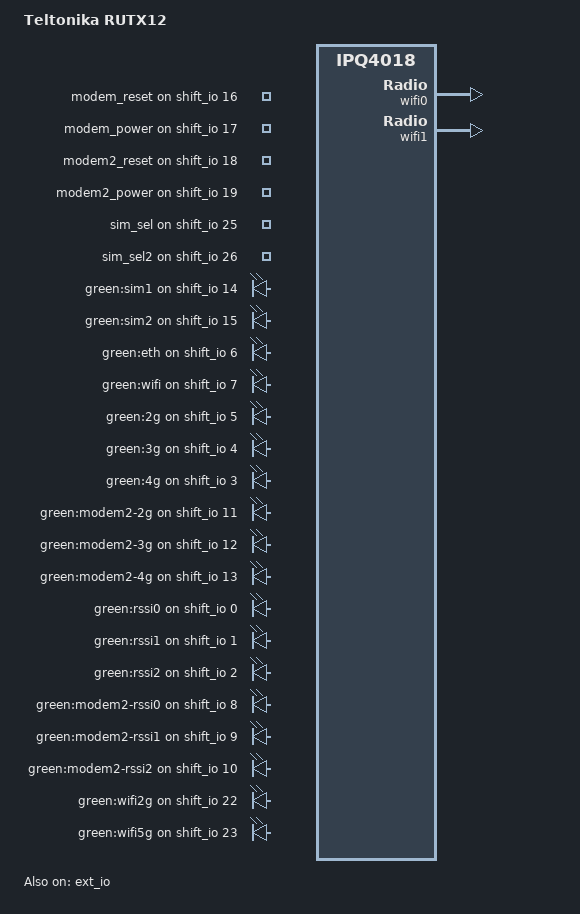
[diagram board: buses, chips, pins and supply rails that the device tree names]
// SPDX-License-Identifier: GPL-2.0-or-later OR MIT

#include "qcom-ipq4018-rutx-dsa.dtsi"

/ {
	model = "Teltonika RUTX12";
	compatible = "teltonika,rutx12";

	aliases {
		led-boot = &led_rssi0;
		led-failsafe = &led_rssi0;
		led-running = &led_rssi0;
		led-upgrade = &led_rssi0;
	};

	soc {
		gpio-export {
			compatible = "gpio-export";

			modem_reset {
				gpio-export,name = "modem_reset";
				gpio-export,output = <0>;
				gpios = <&shift_io 16 GPIO_ACTIVE_HIGH>;
			};

			modem_power {
				gpio-export,name = "modem_power";
				gpio-export,output = <1>;
				gpios = <&shift_io 17 GPIO_ACTIVE_HIGH>;
			};

			modem2_reset {
				gpio-export,name = "modem2_reset";
				gpio-export,output = <0>;
				gpios = <&shift_io 18 GPIO_ACTIVE_HIGH>;
			};

			modem2_power {
				gpio-export,name = "modem2_power";
				gpio-export,output = <1>;
				gpios = <&shift_io 19 GPIO_ACTIVE_HIGH>;
			};

			sim_sel {
				gpio-export,name = "sim_sel";
				gpio-export,output = <0>;
				gpios = <&shift_io 25 GPIO_ACTIVE_HIGH>;
			};

			sim_sel2 {
				gpio-export,name = "sim_sel2";
				gpio-export,output = <0>;
				gpios = <&shift_io 26 GPIO_ACTIVE_HIGH>;
			};
		};

		leds {
			compatible = "gpio-leds";

			led-0 {
				label = "green:sim1";
				gpios = <&shift_io 14 GPIO_ACTIVE_HIGH>;
			};

			led-1 {
				label = "green:sim2";
				gpios = <&shift_io 15 GPIO_ACTIVE_HIGH>;
			};

			led-2 {
				label = "green:eth";
				gpios = <&shift_io 6 GPIO_ACTIVE_HIGH>;
			};

			led-3 {
				label = "green:wifi";
				gpios = <&shift_io 7 GPIO_ACTIVE_HIGH>;
			};

			led-4 {
				label = "green:2g";
				gpios = <&shift_io 5 GPIO_ACTIVE_HIGH>;
			};

			led-5 {
				label = "green:3g";
				gpios = <&shift_io 4 GPIO_ACTIVE_HIGH>;
			};

			led-6 {
				label = "green:4g";
				gpios = <&shift_io 3 GPIO_ACTIVE_HIGH>;
			};

			led-7 {
				label = "green:modem2-2g";
				gpios = <&shift_io 11 GPIO_ACTIVE_HIGH>;
			};

			led-8 {
				label = "green:modem2-3g";
				gpios = <&shift_io 12 GPIO_ACTIVE_HIGH>;
			};

			led-9 {
				label = "green:modem2-4g";
				gpios = <&shift_io 13 GPIO_ACTIVE_HIGH>;
			};

			led_rssi0: led-10 {
				label = "green:rssi0";
				gpios = <&shift_io 0 GPIO_ACTIVE_HIGH>;
			};

			led-11 {
				label = "green:rssi1";
				gpios = <&shift_io 1 GPIO_ACTIVE_HIGH>;
			};

			led-12 {
				label = "green:rssi2";
				gpios = <&shift_io 2 GPIO_ACTIVE_HIGH>;
			};

			led-13 {
				label = "green:modem2-rssi0";
				gpios = <&shift_io 8 GPIO_ACTIVE_HIGH>;
			};

			led-14 {
				label = "green:modem2-rssi1";
				gpios = <&shift_io 9 GPIO_ACTIVE_HIGH>;
			};

			led-15 {
				label = "green:modem2-rssi2";
				gpios = <&shift_io 10 GPIO_ACTIVE_HIGH>;
			};

			led-16 {
				label = "green:wifi2g";
				gpios = <&shift_io 22 GPIO_ACTIVE_HIGH>;
				linux,default-trigger = "phy0tpt";
			};

			led-17 {
				label = "green:wifi5g";
				gpios = <&shift_io 23 GPIO_ACTIVE_HIGH>;
				linux,default-trigger = "phy1tpt";
			};
		};
	};
};

&ext_io {
	status = "okay";
};

&shift_io {
	registers-number = <4>;
};

&wifi0 {
	status = "okay";
	qcom,ath10k-calibration-variant = "Teltonika-RUTX10";
};

&wifi1 {
	status = "okay";
	qcom,ath10k-calibration-variant = "Teltonika-RUTX10";
};
